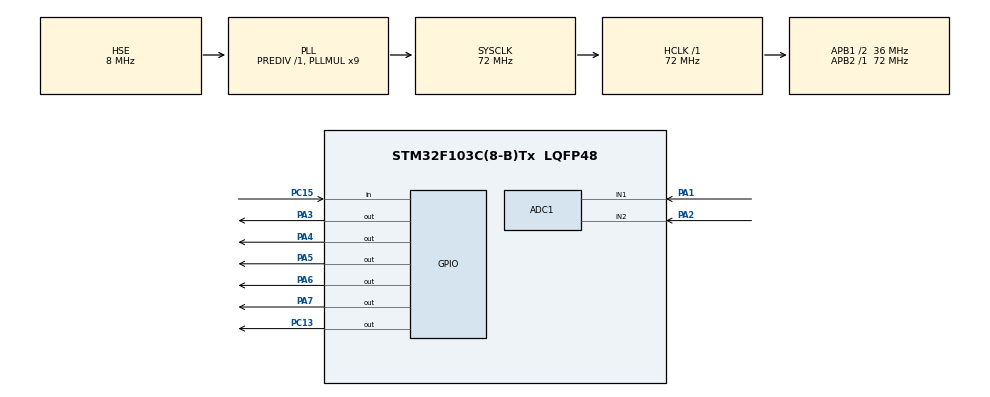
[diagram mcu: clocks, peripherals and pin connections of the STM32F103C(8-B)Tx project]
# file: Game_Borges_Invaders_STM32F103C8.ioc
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ADC1.Channel-5\#ChannelRegularConversion=ADC_CHANNEL_1
ADC1.Channel-6\#ChannelRegularConversion=ADC_CHANNEL_2
ADC1.ContinuousConvMode=ENABLE
ADC1.NbrOfConversion=2
ADC1.NbrOfConversionFlag=1
ADC1.Rank-5\#ChannelRegularConversion=1
ADC1.Rank-6\#ChannelRegularConversion=2
ADC1.SamplingTime-5\#ChannelRegularConversion=ADC_SAMPLETIME_239CYCLES_5
ADC1.SamplingTime-6\#ChannelRegularConversion=ADC_SAMPLETIME_239CYCLES_5
ADC1.master=1
Dma.ADC1.0.Direction=DMA_PERIPH_TO_MEMORY
Dma.ADC1.0.Instance=DMA1_Channel1
Dma.ADC1.0.MemDataAlignment=DMA_MDATAALIGN_WORD
Dma.ADC1.0.MemInc=DMA_MINC_ENABLE
Dma.ADC1.0.Mode=DMA_CIRCULAR
Dma.ADC1.0.PeriphDataAlignment=DMA_PDATAALIGN_WORD
Dma.ADC1.0.PeriphInc=DMA_PINC_DISABLE
Dma.ADC1.0.Priority=DMA_PRIORITY_LOW
Dma.Request0=ADC1
FREERTOS.MEMORY_ALLOCATION=2
FREERTOS.Tasks01=defaultTask,0,128,StartDefaultTask,Default,NULL,Static,defaultTaskBuffer,defaultTaskControlBlock
FREERTOS.configMAX_TASK_NAME_LEN=30
FREERTOS.configTOTAL_HEAP_SIZE=0x3000
FREERTOS.configUSE_NEWLIB_REENTRANT=1
Mcu.Family=STM32F1
Mcu.Name=STM32F103C(8-B)Tx
Mcu.Package=LQFP48
NVIC.ADC1_2_IRQn=true\:5\:0\:false\:false\:true\:true\:true\:true\:true
NVIC.DMA1_Channel1_IRQn=true\:5\:0\:false\:false\:true\:true\:false\:true\:true
NVIC.PriorityGroup=NVIC_PRIORITYGROUP_4
NVIC.TIM4_IRQn=true\:0\:0\:false\:false\:true\:false\:false\:true\:true
NVIC.TimeBase=TIM4_IRQn
NVIC.TimeBaseIP=TIM4
PA1.Signal=ADCx_IN1
PA13.Mode=Serial_Wire
PA13.Signal=SYS_JTMS-SWDIO
PA14.Mode=Serial_Wire
PA14.Signal=SYS_JTCK-SWCLK
PA2.Signal=ADCx_IN2
PA3.Signal=GPIO_Output
PA4.Signal=GPIO_Output
PA5.Signal=GPIO_Output
PA6.Signal=GPIO_Output
PA7.Signal=GPIO_Output
PC13-TAMPER-RTC.Signal=GPIO_Output
PC15-OSC32_OUT.GPIO_PuPd=GPIO_PULLUP
PC15-OSC32_OUT.Signal=GPIO_Input
PD0-OSC_IN.Mode=HSE-External-Oscillator
PD0-OSC_IN.Signal=RCC_OSC_IN
PD1-OSC_OUT.Mode=HSE-External-Oscillator
PD1-OSC_OUT.Signal=RCC_OSC_OUT
ProjectManager.HeapSize=0x200
ProjectManager.StackSize=0x400
ProjectManager.TargetToolchain=STM32CubeIDE
RCC.ADCPresc=RCC_ADCPCLK2_DIV6
RCC.AHBFreq_Value=72000000
RCC.APB1CLKDivider=RCC_HCLK_DIV2
RCC.APB1Freq_Value=36000000
RCC.APB1TimFreq_Value=72000000
RCC.APB2Freq_Value=72000000
RCC.APB2TimFreq_Value=72000000
RCC.HCLKFreq_Value=72000000
RCC.PLLMUL=RCC_PLL_MUL9
RCC.PLLSourceVirtual=RCC_PLLSOURCE_HSE
RCC.SYSCLKFreq_VALUE=72000000
RCC.SYSCLKSource=RCC_SYSCLKSOURCE_PLLCLK
RCC.USBFreq_Value=72000000
SH.ADCx_IN1.0=ADC1_IN1,IN1
SH.ADCx_IN2.0=ADC1_IN2,IN2
VP_FREERTOS_VS_CMSIS_V1.Mode=CMSIS_V1
VP_SYS_VS_tim4.Mode=TIM4
board=FreeRTOS_LC5110_Joystick

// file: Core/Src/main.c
/* USER CODE BEGIN Header */
/**
  ******************************************************************************
  * @file           : main.c
  * @brief          : Main program body
  ******************************************************************************
  * @attention
  *
  * <h2><center>&copy; Copyright (c) 2022 STMicroelectronics.
  * All rights reserved.</center></h2>
  *
  * This software component is licensed by ST under Ultimate Liberty license
  * SLA0044, the "License"; You may not use this file except in compliance with
  * the License. You may obtain a copy of the License at:
  *                             www.st.com/SLA0044
  *
  ******************************************************************************
  */
/* USER CODE END Header */
#include "main.h"
#include "cmsis_os.h"

/* USER CODE BEGIN Includes */
#include "atraso.h"
#include "defPrincipais.h"
#include "NOKIA5110_fb.h"
#include "figuras.h"
#include "PRNG_LFSR.h"
/* USER CODE END Includes */

ADC_HandleTypeDef hadc1;
DMA_HandleTypeDef hdma_adc1;

osThreadId defaultTaskHandle;
uint32_t defaultTaskBuffer[ 128 ];
osStaticThreadDef_t defaultTaskControlBlock;
/* USER CODE BEGIN PV */

#define flag_in_game	0
#define flag_game_over	1

#define BORDA_ESQ	0
#define BORDA_DIR	80
#define BORDA_SUP	10
#define BORDA_INF	42

#define FACIL	90
#define MEDIO	70
#define DIFICIL	50

struct pontos_t basep;
struct pontos_t bolap;

int32_t score=0;
int32_t dificuldade=0;

uint32_t x_base = 38, y_base = 44;

uint32_t ADC_buffer[2];
uint32_t valor_ADC[2];

/* USER CODE END PV */

void SystemClock_Config(void);
static void MX_GPIO_Init(void);
static void MX_DMA_Init(void);
static void MX_ADC1_Init(void);
void StartDefaultTask(void const * argument);

/* USER CODE BEGIN 0 */
void HAL_ADC_ConvCpltCallback(ADC_HandleTypeDef *hadc)
{
	if(hadc->Instance == ADC1)
	{
		valor_ADC[0]=ADC_buffer[0];
		valor_ADC[1]=ADC_buffer[1];
	}
}

//---------------------------------------------------------------------------------------------------

// Tarefa para atualizar periodicamente o LCD
void vTask_LCD_Print(void *pvParameters)
{
	while(1) imprime_LCD();
}
//---------------------------------------------------------------------------------------------------

void vTask_Desloca_Bola(void *pvParameters)
{
	static uint32_t x = 38, y = 40;
	static uint32_t dirbola[3]= {0,0,1}; // x = 0, esquerda - x = 1, direita - y = 0, subida - y = 1, descida, z = 0, parado - z = 1, movimento

	bolap.x1 = 0; bolap.y1 = 0;
	bolap.x2 = 0; bolap.y2 = 0;
	bolap.x3 = 0; bolap.y3 = 0;

	dirbola[0] = (prng_LFSR() % 2);
	vTaskDelay(1);

	while(1)
	{
		vTaskDelay(1);

		if (dirbola[0] == 1 && dirbola[2] == 1){
			x++;
			if(x>=BORDA_DIR){
				dirbola[0] = 0;
			}
		}
		if (dirbola[0] == 0 && dirbola[2] == 1){
			x--;
			if(x<=BORDA_ESQ){
				dirbola[0] = 1;
			}
		}

		if (dirbola[1] == 0 && dirbola[2] == 1){
			y--;
			if(y<=BORDA_SUP){
				dirbola[1] = 1;
			}
		}
		if (dirbola[1] == 1 && dirbola[2] == 1){
			y++;
			if(y>=BORDA_INF && (x>=x_base-5 && x<=x_base+21)){
				score++;
				dirbola[1] = 0;
				dirbola[0] = (prng_LFSR() % 2);
			}
			else if(y>=BORDA_INF){
				dirbola[2] = 0;
			}
		}

		escreve_Nr_Peq(60,0, score, 6); // mostra até 99999
		vTaskDelay(10);

		bolap.x1 = x;  bolap.y1 = y;
		desenha_fig(&bolap, &bolaf);

		switch(dificuldade){
		case(0):
			vTaskDelay(FACIL);
			if(score==5)
				dificuldade++;
			break;
		case(1):
			vTaskDelay(MEDIO);
			if(score==10)
				dificuldade++;
			break;
		case(2):
			vTaskDelay(DIFICIL);
			break;
		}
		desenha_fig(&bolap, &apaga_bolaf);
	}
}

void vTask_Desloca_Base(void *pvParameters)
{
	static int32_t dif_eixoX;

	basep.x2 = 0; basep.y2 = 0;
	basep.x3 = 0; basep.y3 = 0;

	while(1)
	{

		dif_eixoX = 2048 - valor_ADC[0];// media_eixoX;

		if(dif_eixoX < -200)
		{
			if(x_base>BORDA_ESQ) x_base--;
		}
		else if(dif_eixoX > 200)
		{
			if(x_base<BORDA_DIR-15) x_base++;
		}
		// ------------------------------------------------------------------------

		// ------------------------------------------------------------------------
		basep.x1 = x_base;  basep.y1 = y_base;

		desenha_fig(&basep,&basef);
		vTaskDelay(50);					// atraso para controlar a velocidade do base
		desenha_fig(&basep,&apaga_basef);
	}
}

/* USER CODE END 0 */

int main(void)
{
  /* USER CODE BEGIN 1 */
	uint32_t semente_PRNG=1;
  /* USER CODE END 1 */

  /* MCU Configuration--------------------------------------------------------*/

  /* Reset of all peripherals, Initializes the Flash interface and the Systick. */
  HAL_Init();

  /* Configure the system clock */
  SystemClock_Config();

  /* Initialize all configured peripherals */
  MX_GPIO_Init();
  MX_DMA_Init();
  MX_ADC1_Init();
  /* USER CODE BEGIN 2 */

	HAL_ADC_Start_DMA(&hadc1,(uint32_t*)ADC_buffer,2);
	HAL_ADC_Start_IT(&hadc1);

	// inicializa LCD 5110
	inic_LCD();
	limpa_LCD();

	// --------------------------------------------------------------------------------------
	// inicializa tela do jogo
	imprime_LCD();

	HAL_Delay(1000);
	INVERTE_PIXELS();
	HAL_Delay(1000);
	NORMALIZA_PIXELS();
	HAL_Delay(1000);
	limpa_LCD();

	goto_XY(10, 1);
	string_LCD("Pressione o");
	goto_XY(10, 3);
	string_LCD("Botao para");
	goto_XY(25, 5);
	string_LCD("Iniciar!");
	imprime_LCD();

	while(HAL_GPIO_ReadPin(GPIOC, GPIO_PIN_15))// quando pressionar a tecla come�a o jogo
	{
		semente_PRNG++;
	}
	init_LFSR(semente_PRNG);	// inicializacao para geracao de numeros pseudoaleatorios
	limpa_LCD();

	// -----------------------------------------

  /* USER CODE END 2 */

  /* Create the thread(s) */
  /* definition and creation of defaultTask */
  osThreadStaticDef(defaultTask, StartDefaultTask, osPriorityNormal, 0, 128, defaultTaskBuffer, &defaultTaskControlBlock);
  defaultTaskHandle = osThreadCreate(osThread(defaultTask), NULL);

  /* USER CODE BEGIN RTOS_THREADS */
  /* add threads, ... */

	xTaskCreate(vTask_LCD_Print, "LCD_print", 128, NULL, osPriorityNormal,NULL);
	xTaskCreate(vTask_Desloca_Base, "Base", 128, NULL, osPriorityNormal, NULL);
	xTaskCreate(vTask_Desloca_Bola, "bola", 128, NULL,osPriorityNormal, NULL);

  /* USER CODE END RTOS_THREADS */

  /* Start scheduler */
  osKernelStart();

  /* We should never get here as control is now taken by the scheduler */
  /* Infinite loop */
  while (1)
  {

  }
}

void SystemClock_Config(void)
{
  RCC_OscInitTypeDef RCC_OscInitStruct = {0};
  RCC_ClkInitTypeDef RCC_ClkInitStruct = {0};
  RCC_PeriphCLKInitTypeDef PeriphClkInit = {0};

  /** Initializes the RCC Oscillators according to the specified parameters
  * in the RCC_OscInitTypeDef structure.
  */
  RCC_OscInitStruct.OscillatorType = RCC_OSCILLATORTYPE_HSE;
  RCC_OscInitStruct.HSEState = RCC_HSE_ON;
  RCC_OscInitStruct.HSEPredivValue = RCC_HSE_PREDIV_DIV1;
  RCC_OscInitStruct.HSIState = RCC_HSI_ON;
  RCC_OscInitStruct.PLL.PLLState = RCC_PLL_ON;
  RCC_OscInitStruct.PLL.PLLSource = RCC_PLLSOURCE_HSE;
  RCC_OscInitStruct.PLL.PLLMUL = RCC_PLL_MUL9;
  if (HAL_RCC_OscConfig(&RCC_OscInitStruct) != HAL_OK)
  {
    Error_Handler();
  }

  /** Initializes the CPU, AHB and APB buses clocks
  */
  RCC_ClkInitStruct.ClockType = RCC_CLOCKTYPE_HCLK|RCC_CLOCKTYPE_SYSCLK
                              |RCC_CLOCKTYPE_PCLK1|RCC_CLOCKTYPE_PCLK2;
  RCC_ClkInitStruct.SYSCLKSource = RCC_SYSCLKSOURCE_PLLCLK;
  RCC_ClkInitStruct.AHBCLKDivider = RCC_SYSCLK_DIV1;
  RCC_ClkInitStruct.APB1CLKDivider = RCC_HCLK_DIV2;
  RCC_ClkInitStruct.APB2CLKDivider = RCC_HCLK_DIV1;

  if (HAL_RCC_ClockConfig(&RCC_ClkInitStruct, FLASH_LATENCY_2) != HAL_OK)
  {
    Error_Handler();
  }
  PeriphClkInit.PeriphClockSelection = RCC_PERIPHCLK_ADC;
  PeriphClkInit.AdcClockSelection = RCC_ADCPCLK2_DIV6;
  if (HAL_RCCEx_PeriphCLKConfig(&PeriphClkInit) != HAL_OK)
  {
    Error_Handler();
  }
}

static void MX_ADC1_Init(void)
{

  ADC_ChannelConfTypeDef sConfig = {0};

  /** Common config
  */
  hadc1.Instance = ADC1;
  hadc1.Init.ScanConvMode = ADC_SCAN_ENABLE;
  hadc1.Init.ContinuousConvMode = ENABLE;
  hadc1.Init.DiscontinuousConvMode = DISABLE;
  hadc1.Init.ExternalTrigConv = ADC_SOFTWARE_START;
  hadc1.Init.DataAlign = ADC_DATAALIGN_RIGHT;
  hadc1.Init.NbrOfConversion = 2;
  if (HAL_ADC_Init(&hadc1) != HAL_OK)
  {
    Error_Handler();
  }

  /** Configure Regular Channel
  */
  sConfig.Channel = ADC_CHANNEL_1;
  sConfig.Rank = ADC_REGULAR_RANK_1;
  sConfig.SamplingTime = ADC_SAMPLETIME_239CYCLES_5;
  if (HAL_ADC_ConfigChannel(&hadc1, &sConfig) != HAL_OK)
  {
    Error_Handler();
  }

  /** Configure Regular Channel
  */
  sConfig.Channel = ADC_CHANNEL_2;
  sConfig.Rank = ADC_REGULAR_RANK_2;
  if (HAL_ADC_ConfigChannel(&hadc1, &sConfig) != HAL_OK)
  {
    Error_Handler();
  }

}

static void MX_DMA_Init(void)
{

  /* DMA controller clock enable */
  __HAL_RCC_DMA1_CLK_ENABLE();

  /* DMA interrupt init */
  /* DMA1_Channel1_IRQn interrupt configuration */
  HAL_NVIC_SetPriority(DMA1_Channel1_IRQn, 5, 0);
  HAL_NVIC_EnableIRQ(DMA1_Channel1_IRQn);

}

static void MX_GPIO_Init(void)
{
  GPIO_InitTypeDef GPIO_InitStruct = {0};

  /* GPIO Ports Clock Enable */
  __HAL_RCC_GPIOC_CLK_ENABLE();
  __HAL_RCC_GPIOD_CLK_ENABLE();
  __HAL_RCC_GPIOA_CLK_ENABLE();

  /*Configure GPIO pin Output Level */
  HAL_GPIO_WritePin(GPIOC, GPIO_PIN_13, GPIO_PIN_RESET);

  /*Configure GPIO pin Output Level */
  HAL_GPIO_WritePin(GPIOA, GPIO_PIN_3|GPIO_PIN_4|GPIO_PIN_5|GPIO_PIN_6
                          |GPIO_PIN_7, GPIO_PIN_RESET);

  /*Configure GPIO pin : PC13 */
  GPIO_InitStruct.Pin = GPIO_PIN_13;
  GPIO_InitStruct.Mode = GPIO_MODE_OUTPUT_PP;
  GPIO_InitStruct.Pull = GPIO_NOPULL;
  GPIO_InitStruct.Speed = GPIO_SPEED_FREQ_LOW;
  HAL_GPIO_Init(GPIOC, &GPIO_InitStruct);

  /*Configure GPIO pin : PC15 */
  GPIO_InitStruct.Pin = GPIO_PIN_15;
  GPIO_InitStruct.Mode = GPIO_MODE_INPUT;
  GPIO_InitStruct.Pull = GPIO_PULLUP;
  HAL_GPIO_Init(GPIOC, &GPIO_InitStruct);

  /*Configure GPIO pins : PA3 PA4 PA5 PA6
                           PA7 */
  GPIO_InitStruct.Pin = GPIO_PIN_3|GPIO_PIN_4|GPIO_PIN_5|GPIO_PIN_6
                          |GPIO_PIN_7;
  GPIO_InitStruct.Mode = GPIO_MODE_OUTPUT_PP;
  GPIO_InitStruct.Pull = GPIO_NOPULL;
  GPIO_InitStruct.Speed = GPIO_SPEED_FREQ_LOW;
  HAL_GPIO_Init(GPIOA, &GPIO_InitStruct);

}

void StartDefaultTask(void const * argument)
{
  for(;;)
  {
    osDelay(1);
  }
}

void HAL_TIM_PeriodElapsedCallback(TIM_HandleTypeDef *htim)
{
  if (htim->Instance == TIM4) {
    HAL_IncTick();
  }
}

void Error_Handler(void)
{
  __disable_irq();
  while (1)
  {
  }
}
